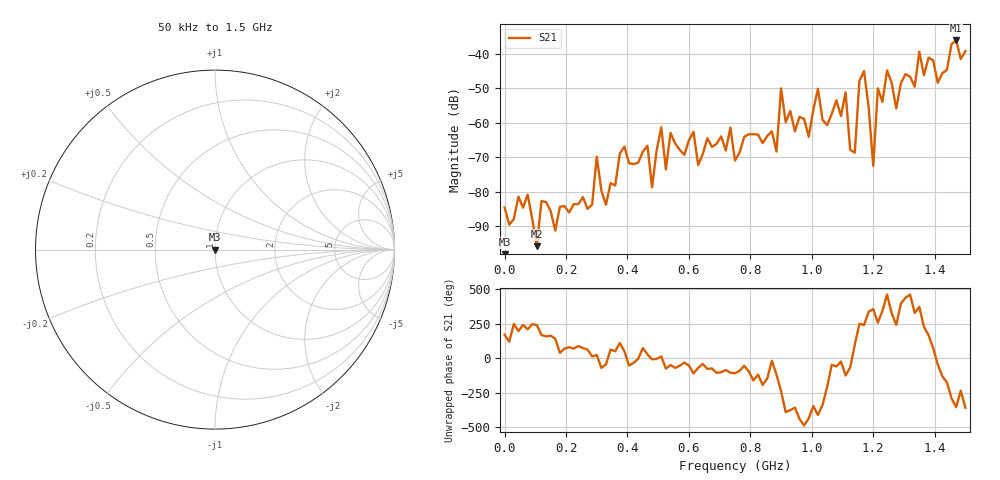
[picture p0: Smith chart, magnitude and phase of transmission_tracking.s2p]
! Created with skrf 1.8.0 (http://scikit-rf.org).
# Hz S RI R 50.0
!freq ReS11 ImS11 ReS21 ImS21 ReS12 ImS12 ReS22 ImS22
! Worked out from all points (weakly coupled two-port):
!   101 points, 50 kHz to 1.5 GHz, reference 50 ohm
!   highest |S21| = -36.22 dB at 1.47 GHz (marker M1); lowest = -95.8 dB at 105 MHz (marker M2)
!   lowest |S11| = - dB at 50 kHz (marker M3), VSWR 1.00, Z = 50 + j0 ohm
!   |S11| at or under -10 dB: start of sweep to end of sweep
!   S12 and S22 are empty: the file has one direction only
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50000  0 0  -5.81e-05 9.92e-06  0 0  0 0
1.050465e8  0 0  -7.87e-06 -1.42e-05  0 0  0 0
2.550415e8  0 0  2.28e-05 8.03e-05  0 0  0 0
3.90037e8  0 0  0.000285 0.000348  0 0  0 0
4.650345e8  0 0  0.000408 0.000219  0 0  0 0
4.80034e8  0 0  0.000115 -1.44e-05  0 0  0 0
5.10033e8  0 0  0.000832 0.000203  0 0  0 0
5.250325e8  0 0  5.64e-05 -0.000203  0 0  0 0
5.40032e8  0 0  0.000471 -0.00053  0 0  0 0
7.50025e8  0 0  -8.63e-05 -0.000269  0 0  0 0
8.850205e8  0 0  -0.000179 -0.000336  0 0  0 0
9.0002e8  0 0  -0.00167 0.00264  0 0  0 0
9.450185e8  0 0  0.000746 3.64e-05  0 0  0 0
1.005016e9  0 0  0.00149 0.000393  0 0  0 0
1.110013e9  0 0  -0.00153 -0.00226  0 0  0 0
1.140012e9  0 0  -5.92e-05 0.000363  0 0  0 0
1.170011e9  0 0  -0.00271 -0.00487  0 0  0 0
1.20001e9  0 0  0.000236 -1.3e-05  0 0  0 0
1.21501e9  0 0  -0.000654 -0.00306  0 0  0 0
1.260008e9  0 0  0.00315 -0.00209  0 0  0 0
1.470001e9  0 0  0.0154 0.00177  0 0  0 0
1.5e9  0 0  0.0108 0.000473  0 0  0 0
